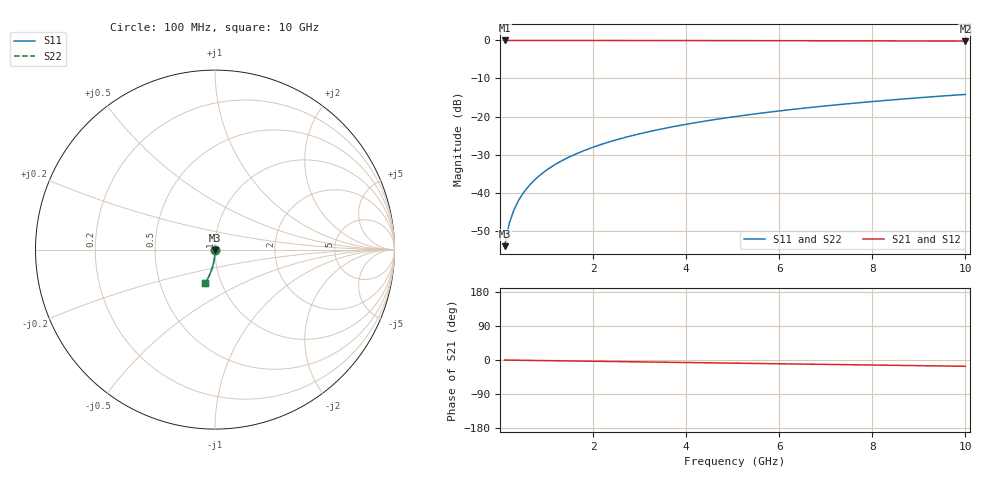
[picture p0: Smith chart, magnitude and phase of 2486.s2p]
# Hz S RI R 50.00
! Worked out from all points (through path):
!   100 points, 100 MHz to 10 GHz, reference 50 ohm
!   highest |S21| = 0.00 dB at 100 MHz (marker M1); lowest = -0.2 dB at 10 GHz (marker M2)
!   group delay of S21, straight-line fit = 4.61 ps
!   lowest |S11| = -54.1 dB at 100 MHz (marker M3), VSWR 1.00, Z = 50 - j0.197 ohm
!   |S11| at or under -10 dB: start of sweep to end of sweep
!   |S22| runs from -54.1 to -14.2 dB; largest |S21 - S12| = 0
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1e8  0.000111 -0.00197  0.9999 -0.00288  0.9999 -0.00288  0.000111 -0.00197
2e8  9.21e-05 -0.00394  0.9999 -0.00575  0.9999 -0.00575  9.21e-05 -0.00394
3e8  6.2e-05 -0.00591  0.9998 -0.00863  0.9998 -0.00863  6.2e-05 -0.00591
4e8  2.05e-05 -0.00788  0.9998 -0.0115  0.9998 -0.0115  2.05e-05 -0.00788
5e8  -3.25e-05 -0.00985  0.9997 -0.0144  0.9997 -0.0144  -3.25e-05 -0.00985
6e8  -9.68e-05 -0.0118  0.9996 -0.0173  0.9996 -0.0173  -9.68e-05 -0.0118
7e8  -0.000173 -0.0138  0.9996 -0.0201  0.9996 -0.0201  -0.000173 -0.0138
8e8  -0.00026 -0.0158  0.9995 -0.023  0.9995 -0.023  -0.00026 -0.0158
9e8  -0.000358 -0.0177  0.9994 -0.0259  0.9994 -0.0259  -0.000358 -0.0177
1.1e9  -0.000589 -0.0217  0.9991 -0.0316  0.9991 -0.0316  -0.000589 -0.0217
1.4e9  -0.00102 -0.0276  0.9986 -0.0403  0.9986 -0.0403  -0.00102 -0.0276
1.8e9  -0.00176 -0.0355  0.9979 -0.0518  0.9979 -0.0518  -0.00176 -0.0355
2.1e9  -0.00243 -0.0414  0.9971 -0.0604  0.9971 -0.0604  -0.00243 -0.0414
2.5e9  -0.00349 -0.0492  0.996 -0.0719  0.996 -0.0719  -0.00349 -0.0492
2.9e9  -0.00473 -0.057  0.9947 -0.0834  0.9947 -0.0834  -0.00473 -0.057
3.4e9  -0.00653 -0.0668  0.9927 -0.0978  0.9927 -0.0978  -0.00653 -0.0668
4.2e9  -0.01 -0.0823  0.989 -0.1206  0.989 -0.1206  -0.01 -0.0823
5.1e9  -0.0148 -0.0996  0.9839 -0.1462  0.9839 -0.1462  -0.0148 -0.0996
5.9e9  -0.0198 -0.1147  0.9785 -0.1687  0.9785 -0.1687  -0.0198 -0.1147
6.7e9  -0.0255 -0.1295  0.9724 -0.191  0.9724 -0.191  -0.0255 -0.1295
8.4e9  -0.0398 -0.16  0.957 -0.2374  0.957 -0.2374  -0.0398 -0.16
1e10  -0.0558 -0.187  0.9396 -0.2797  0.9396 -0.2797  -0.0558 -0.187
